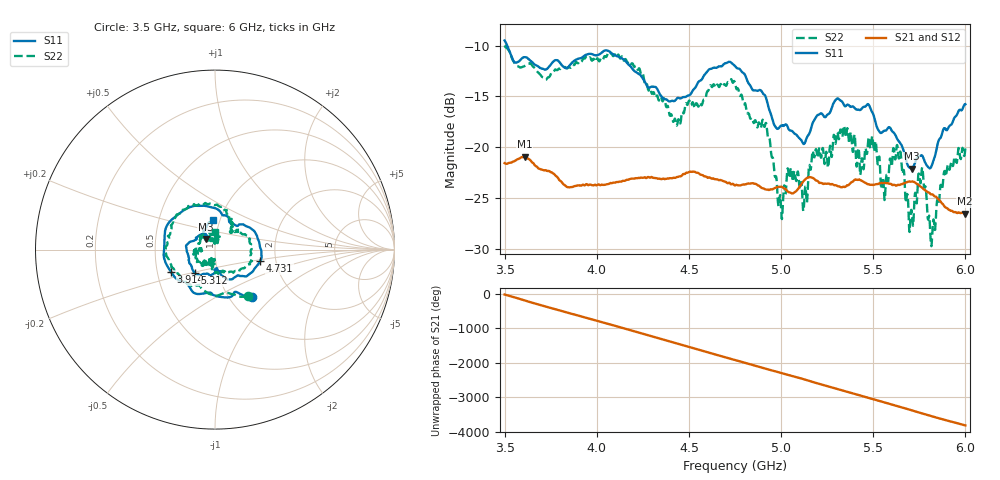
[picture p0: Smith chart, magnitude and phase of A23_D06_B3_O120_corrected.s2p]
! Created with skrf 1.9.0 (http://scikit-rf.org).
# Hz S RI R 50.0
!freq ReS11 ImS11 ReS21 ImS21 ReS12 ImS12 ReS22 ImS22
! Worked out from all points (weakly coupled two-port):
!   1601 points, 3.5 GHz to 6 GHz, reference 50 ohm
!   highest |S21| = -20.95 dB at 3.609 GHz (marker M1); lowest = -26.5 dB at 5.995 GHz (marker M2)
!   lowest |S11| = -22.1 dB at 5.709 GHz (marker M3), VSWR 1.17, Z = 44.8 + j5.33 ohm
!   |S11| at or under -10 dB: 3.514 GHz to end of sweep
!   |S22| runs from -29.7 to -10.0 dB; largest |S21 - S12| = 0.001
!   S11 on the Smith chart (normalised r, x): 3.5 GHz: 1.27, -0.75; 3.914 GHz: 0.59, -0.16; 4.731 GHz: 1.65, -0.23; 5.312 GHz: 0.77, -0.21; 6 GHz: 0.93, +0.31
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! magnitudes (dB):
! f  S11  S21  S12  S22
! 3.5 GHz  -9.5  -21.6  -21.6  -10.0
! 3.609 GHz  -11.1  -21.0  -21.0  -12.0
! 3.914 GHz  -11.2  -23.8  -23.8  -11.6
! 3.917 GHz  -11.2  -23.8  -23.7  -11.6
! 4.334 GHz  -14.5  -23.1  -23.0  -15.3
! 4.442 GHz  -15.1  -22.9  -22.9  -17.3
! 4.731 GHz  -11.7  -23.7  -23.6  -13.4
! 4.75 GHz  -12.0  -23.8  -23.7  -13.7
! 4.912 GHz  -14.9  -24.1  -24.1  -17.9
! 4.995 GHz  -17.9  -23.9  -23.8  -24.7
! 5.045 GHz  -18.3  -24.5  -24.4  -23.1
! 5.13 GHz  -19.6  -23.2  -23.2  -24.1
! 5.167 GHz  -17.9  -23.0  -23.0  -21.0
! 5.312 GHz  -15.3  -23.9  -23.8  -19.2
! 5.584 GHz  -18.0  -23.6  -23.5  -22.6
! 5.639 GHz  -19.4  -23.7  -23.7  -21.1
! 5.709 GHz  -22.1  -23.4  -23.3  -26.4
! 5.758 GHz  -20.8  -23.9  -23.8  -23.4
! 5.823 GHz  -21.5  -24.7  -24.6  -27.6
! 5.894 GHz  -18.3  -25.9  -25.9  -22.9
! 5.995 GHz  -15.8  -26.5  -26.4  -20.8
! 6 GHz  -15.8  -26.5  -26.5  -20.1
